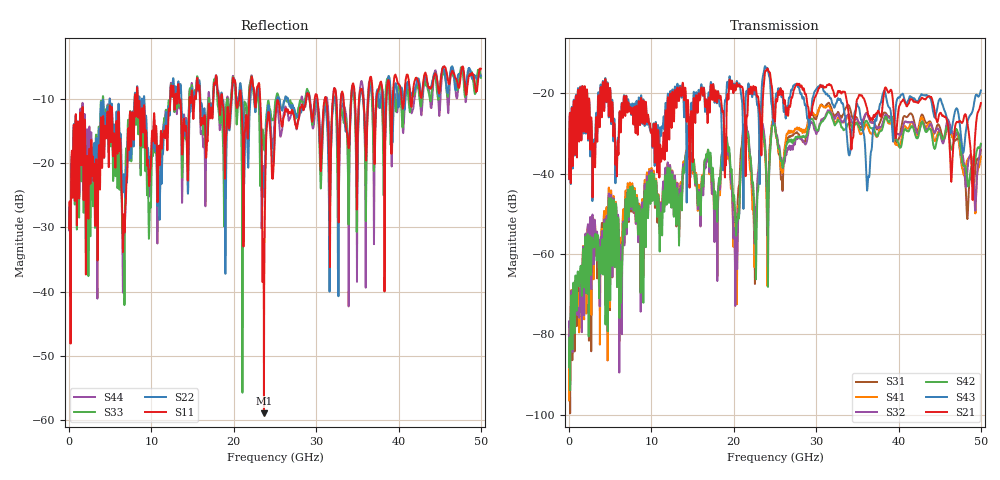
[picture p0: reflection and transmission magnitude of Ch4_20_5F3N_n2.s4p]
!Agilent Technologies,N5247A,US51170199,A.09.90.13
!Agilent N5247A: A.09.90.13
!Date: Tuesday, December 08, 2015 12:07:52
!Correction: S11(Full 4 Port(1,2,3,4))
!S12(Full 4 Port(1,2,3,4))
!S13(Full 4 Port(1,2,3,4))
!S14(Full 4 Port(1,2,3,4))
!S21(Full 4 Port(1,2,3,4))
!S22(Full 4 Port(1,2,3,4))
!S23(Full 4 Port(1,2,3,4))
!S24(Full 4 Port(1,2,3,4))
!S31(Full 4 Port(1,2,3,4))
!S32(Full 4 Port(1,2,3,4))
!S33(Full 4 Port(1,2,3,4))
!S34(Full 4 Port(1,2,3,4))
!S41(Full 4 Port(1,2,3,4))
!S42(Full 4 Port(1,2,3,4))
!S43(Full 4 Port(1,2,3,4))
!S44(Full 4 Port(1,2,3,4))
!S4P File: Measurements: <S11,S12,S13,S14>,
!<S21,S22,S23,S24>,
!<S31,S32,S33,S34>,
!<S41,S42,S43,S44>:
# Hz S  dB  R 50
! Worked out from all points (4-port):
!   3201 points, 10 MHz to 50 GHz, reference 50 ohm
!   strongest paths, dB at 10 MHz, 12.51 GHz, 25 GHz, 37.5 GHz, 50 GHz:
!     S21: -41.2, -21.8, -26.8, -24.3, -22.4
!     S43: -41.4, -21.0, -23.2, -24.7, -19.3
!     S42: -80.9, -40.4, -28.5, -30.4, -32.5
!     S32: -76.8, -39.9, -27.8, -28.6, -32.8
!     S41: -96.5, -39.4, -28.3, -30.3, -35.7
!     S31: -88.0, -40.6, -27.9, -28.6, -34.0
!   lowest |S11| = -58.9 dB at 23.66 GHz (marker M1), VSWR 1.00, Z = 49.9 + j0.0731 ohm
!   |S11| at or under -10 dB: start of sweep to 7.975 GHz; 8.343 GHz to 12.29 GHz (3.946 GHz wide, 38.3 % of centre); 23.2 GHz to 28.8 GHz (5.593 GHz wide, 21.5 % of centre)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
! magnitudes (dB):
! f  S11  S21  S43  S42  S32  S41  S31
! 10 MHz  -30.2  -41.2  -41.4  -80.9  -76.8  -96.5  -88.0
! 7.54 GHz  -17.4  -24.9  -25.2  -48.0  -48.9  -46.3  -49.4
! 22.19 GHz  -6.6  -19.8  -20.7  -40.7  -40.6  -44.6  -42.8
! 23.66 GHz  -58.9  -17.5  -14.5  -31.1  -29.5  -31.5  -30.5
! 36.3 GHz  -10.5  -25.2  -41.5  -27.4  -25.7  -28.4  -25.5
! 38.21 GHz  -15.7  -20.5  -19.4  -27.4  -26.5  -26.8  -24.8
! 50 GHz  -5.4  -22.4  -19.3  -32.5  -32.8  -35.7  -34.0
